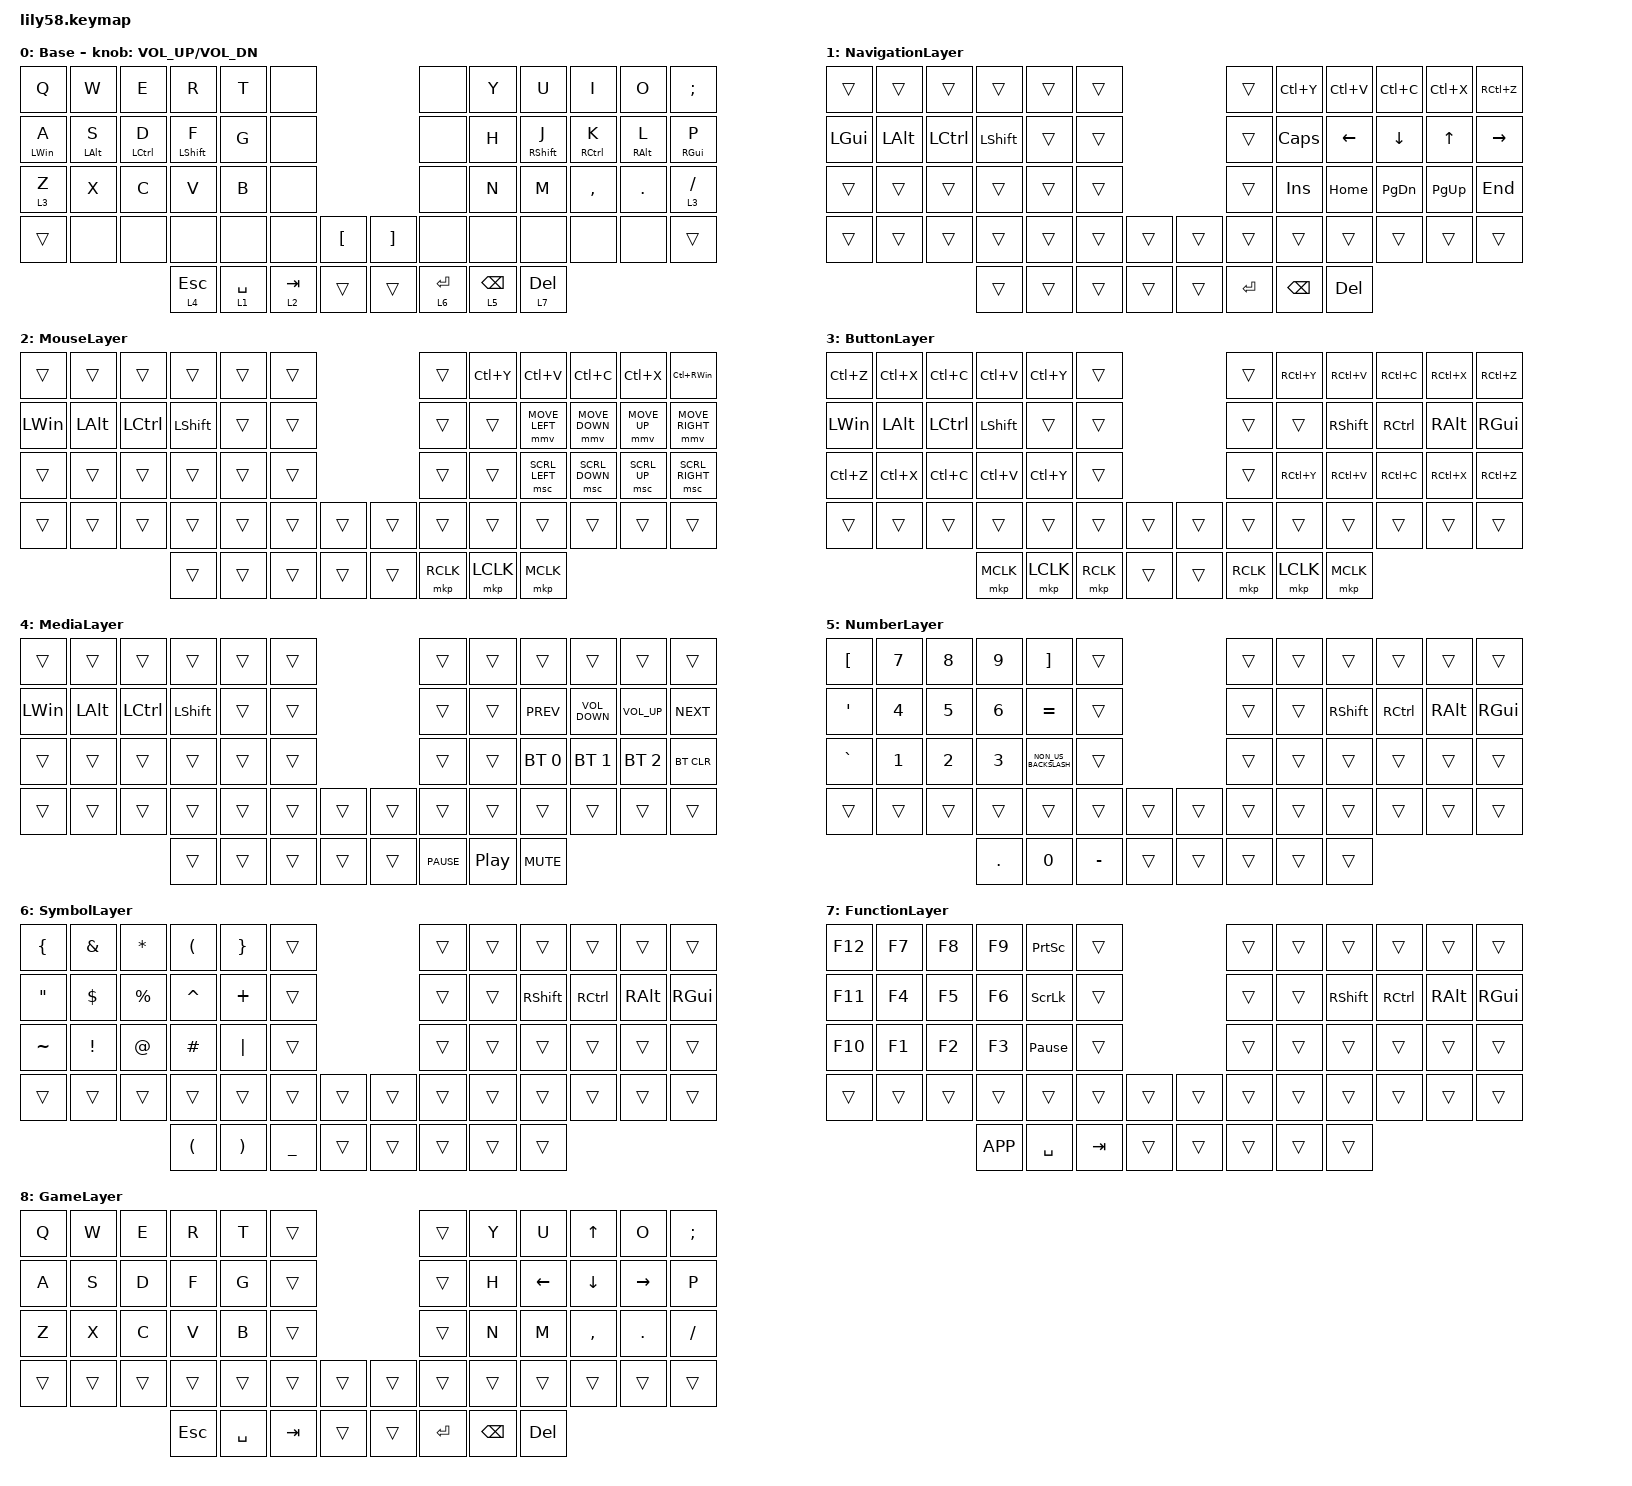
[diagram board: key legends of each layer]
/*
 * Copyright (c) 2020 The ZMK Contributors
 *
 * SPDX-License-Identifier: MIT
 */

#define ZMK_POINTING_DEFAULT_MOVE_VAL 2500  // default: 600
#define ZMK_POINTING_DEFAULT_SCRL_VAL 15  // default: 10

#include <behaviors.dtsi>
#include <dt-bindings/zmk/bt.h>
#include <dt-bindings/zmk/keys.h>
#include <dt-bindings/zmk/pointing.h>

/ {
    combos {
        compatible = "zmk,combos";

        Caps {
            bindings = <&kp LANG_HANGEUL>;
            key-positions = <21 22>;
        };

        ToggleGameLayerj {
            bindings = <&tog 8>;
            key-positions = <0 11>;
        };

        Hangle {
            bindings = <&kp LANG_HANGEUL>;
            key-positions = <20 21>;
        };
    };

    behaviors {
        hm: hm {
            compatible = "zmk,behavior-hold-tap";
            label = "HM";
            bindings = <&kp>, <&kp>;

            #binding-cells = <2>;
            tapping-term-ms = <200>;
            quick-tap-ms = <130>;
            flavor = "tap-preferred";
        };
    };

    keymap {
        compatible = "zmk,keymap";

        BaseLayer {
            // ------------------------------------------------------------------------------------------------------------
            // |  ESC  |  1  |  2  |  3   |  4   |  5   |                   |  6   |  7    |  8    |  9   |   0   |   `   |
            // |  TAB  |  Q  |  W  |  E   |  R   |  T   |                   |  Y   |  U    |  I    |  O   |   P   |   -   |
            // |  CTRL |  A  |  S  |  D   |  F   |  G   |                   |  H   |  J    |  K    |  L   |   ;   |   '   |
            // | SHIFT |  Z  |  X  |  C   |  V   |  B   |   "["  |  |  "]"  |  N   |  M    |  ,    |  .   |   /   | SHIFT |
            //                     | ALT  | GUI  | LOWER|  SPACE |  | ENTER | RAISE| BSPC  | GUI   |

            display-name = "Base";
            bindings = <
&kp Q           &kp W           &kp E        &kp R             &kp T        &none                            &none        &kp Y            &kp U              &kp I        &kp O            &kp SEMICOLON
&hm LEFT_WIN A  &hm LEFT_ALT S  &hm LCTRL D  &hm LEFT_SHIFT F  &kp G        &none                            &none        &kp H            &hm RIGHT_SHIFT J  &hm RCTRL K  &hm RIGHT_ALT L  &hm RGUI P
&lt 3 Z         &kp X           &kp C        &kp V             &kp B        &none                            &none        &kp N            &kp M              &kp COMMA    &kp PERIOD       &lt 3 SLASH
&trans          &none           &none        &none             &none        &none      &kp LBKT    &kp RBKT  &none        &none            &none              &none        &none            &trans
                                             &lt 4 ESC         &lt 1 SPACE  &lt 2 TAB  &trans      &trans    &lt 6 ENTER  &lt 5 BACKSPACE  &lt 7 DELETE
            >;

            sensor-bindings = <&inc_dec_kp C_VOL_UP C_VOL_DN>;
        };

        NavigationLayer {
            bindings = <
&trans        &trans        &trans     &trans          &trans  &trans                    &trans     &kp LC(Y)      &kp LC(V)       &kp LC(C)       &kp LC(X)     &kp RC(Z)
&kp LEFT_GUI  &kp LEFT_ALT  &kp LCTRL  &kp LEFT_SHIFT  &trans  &trans                    &trans     &kp CLCK       &kp LEFT_ARROW  &kp DOWN_ARROW  &kp UP_ARROW  &kp RIGHT_ARROW
&trans        &trans        &trans     &trans          &trans  &trans                    &trans     &kp INSERT     &kp HOME        &kp PAGE_DOWN   &kp PAGE_UP   &kp END
&trans        &trans        &trans     &trans          &trans  &trans  &trans    &trans  &trans     &trans         &trans          &trans          &trans        &trans
                                       &trans          &trans  &trans  &trans    &trans  &kp ENTER  &kp BACKSPACE  &kp DELETE
            >;
        };

        MouseLayer {
            bindings = <
&trans        &trans        &trans     &trans          &trans  &trans                    &trans     &kp LC(Y)  &kp LC(V)       &kp LC(C)       &kp LC(X)     &kp LC(RIGHT_WIN)
&kp LEFT_WIN  &kp LEFT_ALT  &kp LCTRL  &kp LEFT_SHIFT  &trans  &trans                    &trans     &trans     &mmv MOVE_LEFT  &mmv MOVE_DOWN  &mmv MOVE_UP  &mmv MOVE_RIGHT
&trans        &trans        &trans     &trans          &trans  &trans                    &trans     &trans     &msc SCRL_LEFT  &msc SCRL_DOWN  &msc SCRL_UP  &msc SCRL_RIGHT
&trans        &trans        &trans     &trans          &trans  &trans  &trans    &trans  &trans     &trans     &trans          &trans          &trans        &trans
                                       &trans          &trans  &trans  &trans    &trans  &mkp RCLK  &mkp LCLK  &mkp MCLK
            >;
        };

        ButtonLayer {
            bindings = <
&kp LC(Z)     &kp LC(X)     &kp LC(C)  &kp LC(V)       &kp LC(Y)  &trans                       &trans     &kp RC(Y)  &kp RC(V)        &kp RC(C)  &kp RC(X)      &kp RC(Z)
&kp LEFT_WIN  &kp LEFT_ALT  &kp LCTRL  &kp LEFT_SHIFT  &trans     &trans                       &trans     &trans     &kp RIGHT_SHIFT  &kp RCTRL  &kp RIGHT_ALT  &kp RIGHT_GUI
&kp LC(Z)     &kp LC(X)     &kp LC(C)  &kp LC(V)       &kp LC(Y)  &trans                       &trans     &kp RC(Y)  &kp RC(V)        &kp RC(C)  &kp RC(X)      &kp RC(Z)
&trans        &trans        &trans     &trans          &trans     &trans     &trans    &trans  &trans     &trans     &trans           &trans     &trans         &trans
                                       &mkp MCLK       &mkp LCLK  &mkp RCLK  &trans    &trans  &mkp RCLK  &mkp LCLK  &mkp MCLK
            >;
        };

        MediaLayer {
            bindings = <
&trans        &trans        &trans     &trans          &trans  &trans                    &trans       &trans    &trans        &trans             &trans           &trans
&kp LEFT_WIN  &kp LEFT_ALT  &kp LCTRL  &kp LEFT_SHIFT  &trans  &trans                    &trans       &trans    &kp C_PREV    &kp C_VOLUME_DOWN  &kp C_VOLUME_UP  &kp C_NEXT
&trans        &trans        &trans     &trans          &trans  &trans                    &trans       &trans    &bt BT_SEL 0  &bt BT_SEL 1       &bt BT_SEL 2     &bt BT_CLR
&trans        &trans        &trans     &trans          &trans  &trans  &trans    &trans  &trans       &trans    &trans        &trans             &trans           &trans
                                       &trans          &trans  &trans  &trans    &trans  &kp C_PAUSE  &kp C_PP  &kp C_MUTE
            >;
        };

        NumberLayer {
            bindings = <
&kp LEFT_BRACKET  &kp NUMBER_7  &kp N8        &kp NUMBER_9  &kp RIGHT_BRACKET     &trans                       &trans  &trans  &trans      &trans     &trans         &trans
&kp SQT           &kp NUMBER_4  &kp N5        &kp NUMBER_6  &kp EQUAL             &trans                       &trans  &trans  &kp RSHIFT  &kp RCTRL  &kp RIGHT_ALT  &kp RIGHT_GUI
&kp GRAVE         &kp NUMBER_1  &kp NUMBER_2  &kp NUMBER_3  &kp NON_US_BACKSLASH  &trans                       &trans  &trans  &trans      &trans     &trans         &trans
&trans            &trans        &trans        &trans        &trans                &trans     &trans    &trans  &trans  &trans  &trans      &trans     &trans         &trans
                                              &kp DOT       &kp NUMBER_0          &kp MINUS  &trans    &trans  &trans  &trans  &trans
            >;
        };

        SymbolLayer {
            bindings = <
&kp LEFT_BRACE     &kp AMPERSAND    &kp ASTERISK  &kp LEFT_PARENTHESIS  &kp RIGHT_BRACE        &trans                       &trans  &trans  &trans           &trans     &trans         &trans
&kp DOUBLE_QUOTES  &kp DOLLAR       &kp PERCENT   &kp CARET             &kp PLUS               &trans                       &trans  &trans  &kp RIGHT_SHIFT  &kp RCTRL  &kp RIGHT_ALT  &kp RGUI
&kp TILDE          &kp EXCLAMATION  &kp AT_SIGN   &kp HASH              &kp PIPE               &trans                       &trans  &trans  &trans           &trans     &trans         &trans
&trans             &trans           &trans        &trans                &trans                 &trans     &trans    &trans  &trans  &trans  &trans           &trans     &trans         &trans
                                                  &kp LEFT_PARENTHESIS  &kp RIGHT_PARENTHESIS  &kp UNDER  &trans    &trans  &trans  &trans  &trans
            >;
        };

        FunctionLayer {
            bindings = <
&kp F12  &kp F7  &kp F8  &kp F9     &kp PRINTSCREEN  &trans                     &trans  &trans  &trans           &trans     &trans         &trans
&kp F11  &kp F4  &kp F5  &kp F6     &kp SCROLLLOCK   &trans                     &trans  &trans  &kp RIGHT_SHIFT  &kp RCTRL  &kp RIGHT_ALT  &kp RGUI
&kp F10  &kp F1  &kp F2  &kp F3     &kp PAUSE_BREAK  &trans                     &trans  &trans  &trans           &trans     &trans         &trans
&trans   &trans  &trans  &trans     &trans           &trans   &trans    &trans  &trans  &trans  &trans           &trans     &trans         &trans
                         &kp K_APP  &kp SPACE        &kp TAB  &trans    &trans  &trans  &trans  &trans
            >;
        };

        GameLayer {
            bindings = <
&kp Q   &kp W   &kp E   &kp R    &kp T      &trans                     &trans     &kp Y          &kp U           &kp UP_ARROW    &kp O            &kp SEMICOLON
&kp A   &kp S   &kp D   &kp F    &kp G      &trans                     &trans     &kp H          &kp LEFT_ARROW  &kp DOWN_ARROW  &kp RIGHT_ARROW  &kp P
&kp Z   &kp X   &kp C   &kp V    &kp B      &trans                     &trans     &kp N          &kp M           &kp COMMA       &kp PERIOD       &kp SLASH
&trans  &trans  &trans  &trans   &trans     &trans   &trans    &trans  &trans     &trans         &trans          &trans          &trans           &trans
                        &kp ESC  &kp SPACE  &kp TAB  &trans    &trans  &kp ENTER  &kp BACKSPACE  &kp DELETE
            >;
        };

        extra_1 { status = "reserved"; };

        extra_2 { status = "reserved"; };

        extra_3 { status = "reserved"; };
    };
};
